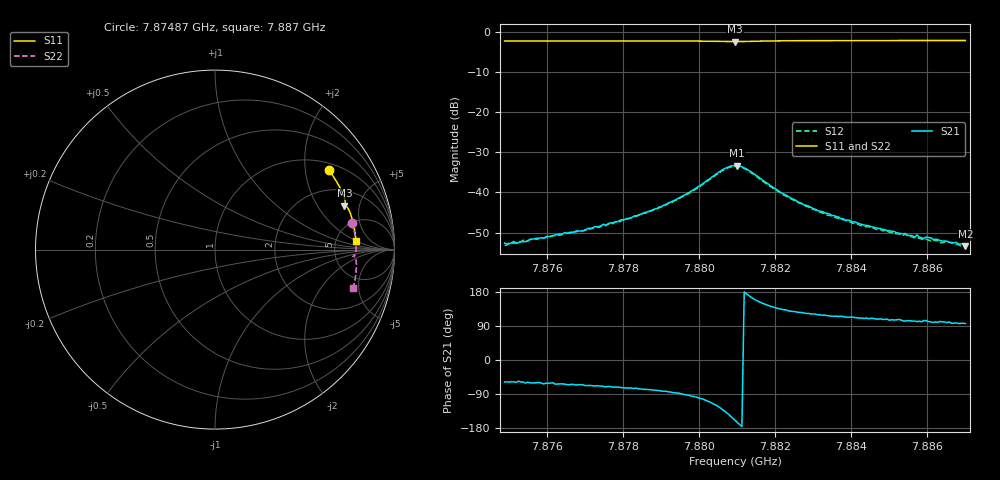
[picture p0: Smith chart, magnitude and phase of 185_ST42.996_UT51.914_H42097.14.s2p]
#  HZ  S  DB  R  50.00
! Rohde & Schwarz Vector Network Analyzer
! Rohde-Schwarz,ZNB20-2Port,1311601062101988,3.16
! Created: UTC 1/12/2023, 6:43:07 PM
! freq[Hz]  db:S11  ang:S11  db:S21  ang:S21  db:S12  ang:S12  db:S22  ang:S22
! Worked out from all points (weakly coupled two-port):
!   201 points, 7.87487 GHz to 7.887 GHz, reference 50 ohm
!   highest |S21| = -33.30 dB at 7.881 GHz (marker M1); lowest = -53.4 dB at 7.887 GHz (marker M2)
!   lowest |S11| = -2.4 dB at 7.88094 GHz (marker M3), VSWR 7.38, Z = 152 + j178 ohm
!   |S11| at or under -10 dB: nowhere
!   |S22| runs from -2.3 to -1.9 dB; largest |S21 - S12| = 0.0014
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7.874872e9  -2.23 34.8  -52.63 -58.0  -53.19 -60.9  -2.17 10.9
7.874993e9  -2.23 34.5  -52.87 -58.1  -52.46 -60.9  -2.17 10.6
7.875115e9  -2.23 34.2  -52.23 -57.8  -52.64 -61.9  -2.16 10.3
7.875236e9  -2.23 33.8  -52.58 -55.9  -52.19 -64.8  -2.16 10.1
7.876934e9  -2.21 29.2  -49.58 -65.5  -49.53 -69.6  -2.11 6.1
7.877905e9  -2.19 26.5  -46.96 -72.1  -47.33 -75.7  -2.09 3.8
7.878936e9  -2.19 23.7  -43.66 -80.7  -43.83 -84.1  -2.09 1.4
7.879724e9  -2.20 21.4  -40.05 -93.2  -40.21 -96.7  -2.09 -0.7
7.880634e9  -2.33 19.0  -34.21 -132.7  -34.40 -135.8  -2.21 -2.6
7.880937e9  -2.37 18.8  -33.30 -158.9  -33.48 -162.4  -2.27 -2.8
7.880998e9  -2.36 18.8  -33.30 -164.6  -33.48 -168.1  -2.26 -2.7
7.881301e9  -2.31 18.5  -34.50 170.0  -34.67 166.4  -2.21 -2.8
7.882211e9  -2.17 16.1  -40.33 132.6  -40.58 129.8  -2.05 -4.9
7.883e9  -2.14 13.9  -44.07 121.6  -44.16 117.5  -2.01 -6.7
7.883849e9  -2.12 11.6  -46.97 113.2  -46.89 110.3  -1.98 -8.7
7.885001e9  -2.10 8.5  -49.50 104.9  -49.95 103.4  -1.97 -11.3
7.885668e9  -2.10 6.8  -51.19 102.8  -51.30 99.0  -1.95 -12.7
7.885729e9  -2.10 6.6  -50.55 101.4  -51.25 99.5  -1.95 -12.8
7.885911e9  -2.09 6.1  -51.47 104.2  -51.60 99.8  -1.95 -13.2
7.885972e9  -2.09 6.0  -51.08 103.8  -51.67 99.2  -1.95 -13.4
7.88676e9  -2.08 3.9  -52.43 98.1  -52.96 96.2  -1.95 -15.1
7.887003e9  -2.08 3.3  -53.38 96.1  -53.27 94.7  -1.94 -15.6
